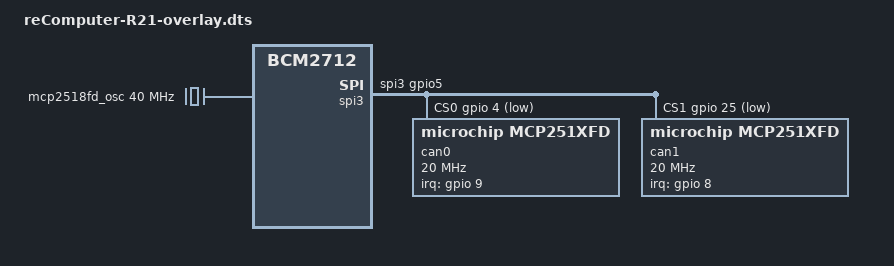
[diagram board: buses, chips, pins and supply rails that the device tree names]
/dts-v1/;
/plugin/;

/* #include "dt-bindings/gpio/gpio.h" */

/ {
    compatible = "brcm,bcm2712";

    fragment@0 {
        target-path = "/clocks";
        __overlay__ {
            /* external 40M oscillator of mcp2518fd on SPI3.0 */
            mcp2518fd_osc: mcp2518fd_osc {
                compatible = "fixed-clock";
                #clock-cells = <0>;
                clock-frequency  = <40000000>;
            };
        };
    };

    fragment@1 {
        target = <&gpio>;
        __overlay__ {
            can_int_pins: can_int_pins {
                brcm,pins = <9 8>;
                brcm,function = <0>; /* input */
            };

            spi3_cs_pins: spi3_cs_pins {
                functions = "spi3";
                pins = "gpio4", "gpio25";
                bias-pull-up;
            };
        };
    };

    fragment@2 {
        target = <&spi3>;
        __overlay__ {
            status = "okay";
            pinctrl-names = "default";
            pinctrl-0 = <&rp1_spi3_gpio5 &spi3_cs_pins>;
            cs-gpios = <&gpio 4 1>, <&gpio 25 1>;

            #address-cells = <1>;
            #size-cells = <0>;

            can0: can0@0 {
                compatible = "microchip,mcp251xfd";
                reg = <0>;
                pinctrl-names = "default";
                pinctrl-0 = <&can_int_pins>;
                spi-max-frequency = <20000000>;
                interrupt-parent = <&gpio>;
                interrupts = <9 8>;
                clocks = <&mcp2518fd_osc>;
            };

            can1: can1@1 {
                compatible = "microchip,mcp251xfd";
                reg = <1>;
                pinctrl-names = "default";
                spi-max-frequency = <20000000>;
                interrupt-parent = <&gpio>;
                interrupts = <8 8>;
                clocks = <&mcp2518fd_osc>;
            };
        };
    };
};
